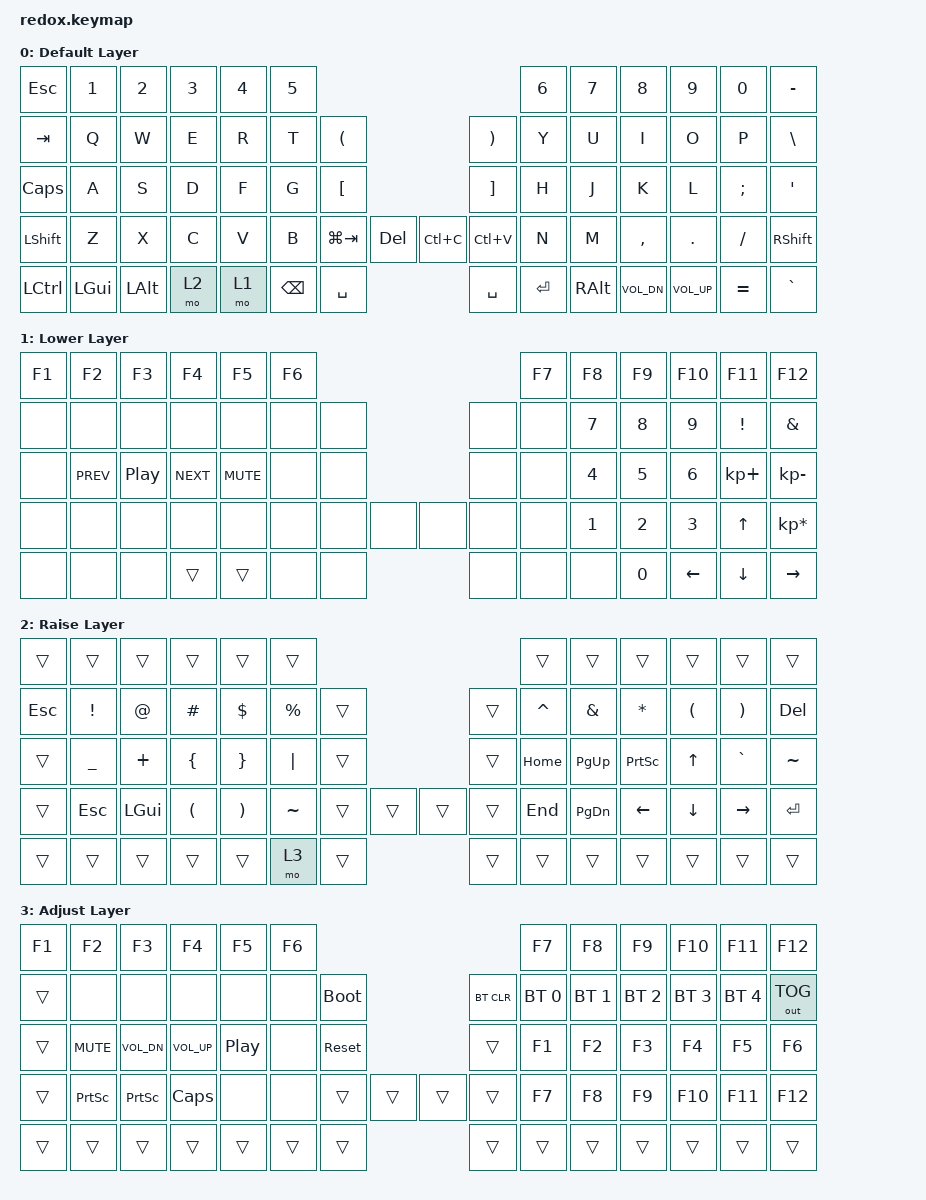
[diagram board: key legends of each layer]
/*
 * Copyright (c) 2021 The ZMK Contributors
 *
 * SPDX-License-Identifier: MIT
 */

#include <behaviors.dtsi>
#include <dt-bindings/zmk/keys.h>
#include <dt-bindings/zmk/bt.h>
#include <dt-bindings/zmk/ext_power.h>
#include <dt-bindings/zmk/outputs.h>

/ {
    keymap {
        compatible =  "zmk,keymap" ;

        default_layer {
            display-name = "Default Layer";
// --------------------------------------------------------------------------------------------------------------------------------
// | ESC   |  1  |  2  |   3   |  4  |  5  |                   ---                |  6    |  7    |  8    |  9   | 0  |     -     |
// | TAB   |  Q  |  W  |   E   |  R  |  T  |   (   |           ---        |  )    |  Y    |  U    |  I    |  O   | P  |     \     |
// | CAPS  |  A  |  S  |   D   |  F  |  G  |   [   |           ---        |  ]    |  H    |  J    |  K    |  L   | ;  |     '     |
// | SHIFT |  Z  |  X  |   C   |  V  |  B  | WINTAB| DEL     | --- | COPY | PASTE |  N    |  M    |  ,    |  .   | /  |   SHFT    |
// | CRTL  | GUI | ALT | RAISE |   LOWER   | BSPACE| SPACE   | --- | SPACE| ENTER |     ALT       |VOL DN |VOL UP| =  |     ~     |
            bindings = <
   &kp ESC   &kp N1   &kp N2   &kp N3 &kp N4   &kp N5                                        &kp N6    &kp N7 &kp N8    &kp N9   &kp N0   &kp MINUS
   &kp TAB   &kp Q    &kp W    &kp E  &kp R    &kp T  &kp LPAR                     &kp RPAR  &kp Y     &kp U  &kp I     &kp O    &kp P    &kp BSLH
   &kp CLCK  &kp A    &kp S    &kp D  &kp F    &kp G  &kp LBKT                     &kp RBKT  &kp H     &kp J  &kp K     &kp L    &kp SEMI &kp SQT
   &kp LSHFT &kp Z    &kp X    &kp C  &kp V    &kp B  &kp LG(TAB) &kp DEL &kp LC(C) &kp LC(V)  &kp N     &kp M  &kp COMMA &kp DOT  &kp FSLH &kp RSHFT
   &kp LCTRL &kp LGUI &kp LALT  &mo 2      &mo 1    &kp BSPC    &kp SPACE &kp SPACE  &kp RET       &kp RALT    &kp C_VOL_DN &kp C_VOL_UP &kp EQUAL &kp GRAVE 
            >;

        };

        lower_layer {
            display-name = "Lower Layer";
// --------------------------------------------------------------------------------------------------------------------------
// | F1    | F2  | F3  |  F4   |  F5   | F6  |                   ---              | F7  | F8  |  F9  | F10  | F11 |  F12  |
// | ---   | --- | --- |  ---  |  ---  | --- |  ---  |           ---        | --- | --- |  7  |   8  |  9   |  !  |   &   |
// | ---   | REW |PAUSE|  FOR  |  MUTE | --- |  ---  |           ---        | --- | --- |  4  |   5  |  6   |  +  |   -   |
// | ---   | --- | --- |  ---  |  ---  | --- |  ---  | ---     | --- | ---  | --- | --- |  1  |   2  |  3   | UP  |   *   |
// | ---   | --- |LOWER| RAISE |     ---     |  ---  | ---     | --- | ---  | --- |    ---    |   0  | LEFT | DOWN| RIGHT |
            bindings = <
   &kp F1  &kp F2    &kp F3    &kp F4    &kp F5    &kp F6                                &kp F7          &kp F8    &kp F9    &kp F10   &kp F11     &kp F12
   &none   &none     &none     &none     &none     &none     &none                &none  &none           &kp N7    &kp N8    &kp N9    &kp EXCL    &kp AMPS 
   &none   &kp C_PREV   &kp C_PP  &kp C_NEXT &kp C_MUTE &none   &none                &none  &none           &kp N4    &kp N5    &kp N6    &kp KP_PLUS &kp KP_MINUS
   &none   &none     &none     &none     &none     &none     &none  &none  &none  &none  &none           &kp N1    &kp N2    &kp N3    &kp UP      &kp KP_MULTIPLY
   &none   &none     &none    &trans          &trans         &none  &none  &none  &none           &none            &kp N0    &kp LEFT  &kp DOWN    &kp RIGHT
            >;
        };

        raise_layer {
            display-name = "Raise Layer";
// ----------------------------------------------------------------------------------------------------------------------------
// | ESC   |  1  |  2  |   3   |  4  |  5  |                   ---                |  6   |  7   |  8   |  9   |  0    |  DEL  |
// | ESC   |  !  |  @  |   #   |  $  |  %  |   (   |           ---        |  )    |  ^   |  &   |  *   |  (   |  )    |  DEL  |
// | CTRL  |  _  |  +  |   {   |  }  | "|" |   [   |           ---        |  ]    | HOME | PGUP | PRSC | UP   |  `    |   ~   |
// | SHIFT | ESC | GUI |   (   |  )  |     | PG_UP | PG_DOWN | --- | HOME | END   | END  | PGDN | LEFT | DOWN | RIGHT |  RET  |
// | CRTL  | ALT |LOWER| RAISE |    GUI    | LOWER | SPACE   | --- | DEL  | SPACE |    RAISE    | LEFT | DOWN | UP    | RIGHT |
            bindings = <
   &trans  &trans    &trans   &trans   &trans   &trans                                &trans    &trans    &trans    &trans   &trans    &trans
   &kp ESC &kp EXCL  &kp AT   &kp HASH &kp DLLR &kp PRCNT &trans               &trans &kp CARET &kp AMPS  &kp ASTRK &kp LPAR &kp RPAR  &kp DEL
   &trans  &kp UNDER &kp PLUS &kp LBRC &kp RBRC &kp PIPE  &trans               &trans &kp HOME  &kp PG_UP &kp PSCRN &kp UP   &kp GRAVE &kp TILDE
   &trans  &kp ESC   &kp LGUI &kp LPAR &kp RPAR &kp TILDE &trans &trans &trans &trans &kp END   &kp PG_DN &kp LEFT  &kp DOWN &kp RIGHT &kp RET
   &trans  &trans    &trans   &trans        &trans        &mo 3  &trans &trans &trans        &trans       &trans    &trans   &trans    &trans
            >;
        };

        adjust_layer {
            display-name = "Adjust Layer";
// -----------------------------------------------------------------------------------------
// |  F1   |  F2   |    F3    |    F4     |     F5     | F6 |                   ---                | F7  | F8  |  F9  |  F10 | F11 | F12        |
// | TAB   |       |          |           |            |    | BOOTL |           ---        |  )    | BT1 | BT2 |  BT3 |  BT4 | BT5 | OUTPUT TGL |
// | CTRL  | MUTE  |  Vol Dn  |  Vol Up   | Play/Pause |    | RESET |           ---        |  ]    | F1  | F2  |  F3  |  F4  | F5  | F6         |
// | SHIFT | PSCRN |  PSCRN   |   CAPS    |            |    | PG_UP | PG_DOWN | --- | HOME | END   | F7  | F8  |  F9  |  F10 | F11 | F12        |
// | CRTL  | ALT   |  GUI     |   LOWER   |      GUI        | LOWER | SPACE   | --- | DEL  | SPACE |   RAISE   | LEFT | DOWN | UP  |   RIGHT    |
                        bindings = <
   &kp F1  &kp F2     &kp F3       &kp F4       &kp F5           &kp F6                                 &kp F7       &kp F8       &kp F9       &kp F10      &kp F11       &kp F12
   &trans  &none      &none        &none        &none            &none  &bootloader          &bt BT_CLR &bt BT_SEL 0 &bt BT_SEL 1 &bt BT_SEL 2 &bt BT_SEL 3 &bt BT_SEL 4  &out OUT_TOG
   &trans  &kp K_MUTE &kp C_VOL_DN &kp C_VOL_UP &kp C_PLAY_PAUSE &none  &sys_reset               &trans     &kp F1       &kp F2       &kp F3       &kp F4       &kp F5        &kp F6
   &trans  &kp PSCRN  &kp PSCRN    &kp CLCK     &none            &none  &trans &trans &trans &trans     &kp F7       &kp F8       &kp F9       &kp F10      &kp F11       &kp F12
   &trans  &trans     &trans       &trans              &trans           &trans &trans &trans &trans          &trans           &trans       &trans       &trans        &trans
            >;
        };
    };
};
